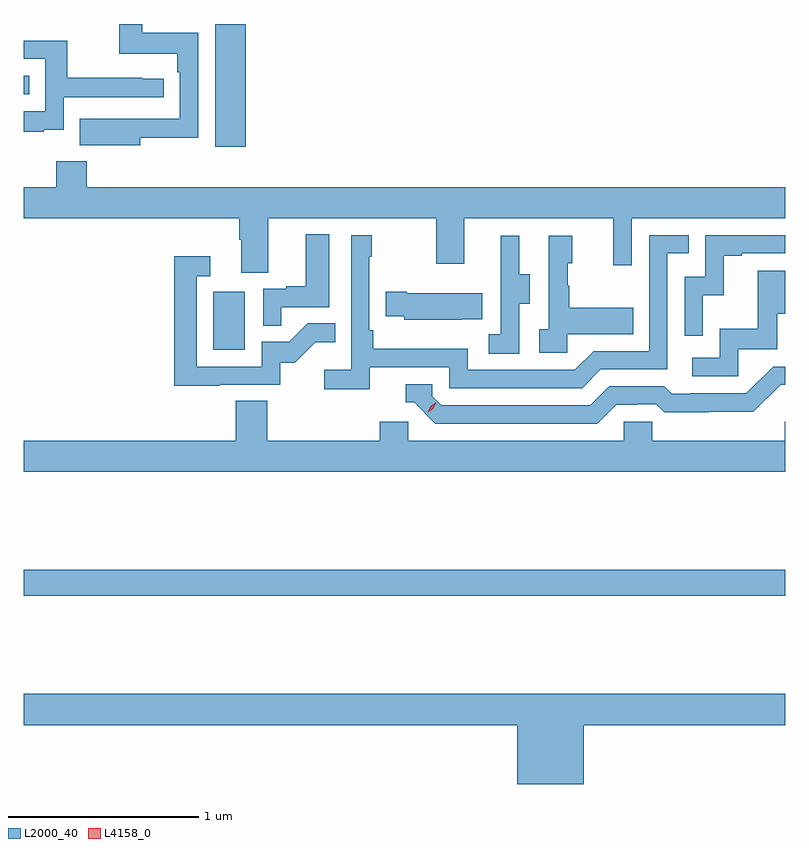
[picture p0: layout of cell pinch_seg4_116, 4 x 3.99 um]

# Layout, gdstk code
import gdstk
lib = gdstk.Library(unit=1e-6, precision=1e-09)
def R(c, l, rs):  # rectangles x0, y0, x1, y1
    for r in rs: c.add(gdstk.rectangle(r[:2], r[2:], *l))
def P(c, l, *ps):  # polygons
    for p in ps: c.add(gdstk.Polygon(p, *l))
L2000_40 = (2000, 40)
L4158_0 = (4158, 0)

pinch_seg4_116 = lib.new_cell('pinch_seg4_116')
R(pinch_seg4_116, L2000_40, [(1069.196,798.832,1073.196,798.968), (1070.192,800.124,1070.356,800.431), (1070.201,801.192,1070.362,801.837), (1069.196,801.468,1069.223,801.564)])
P(pinch_seg4_116, L2000_40, [(1069.807,801.238),(1070.112,801.238),(1070.112,801.79),(1069.819,801.79),(1069.819,801.837),(1069.501,801.837),(1069.501,801.835),(1069.698,801.835),(1069.698,801.68),(1070.003,801.68),(1070.003,801.584),(1070.016,801.584),(1070.016,801.339),(1069.703,801.339),(1069.703,801.34),(1069.489,801.34),(1069.489,801.2),(1069.807,801.2)],
  [(1069.301,801.281),(1069.404,801.281),(1069.404,801.453),(1069.93,801.453),(1069.93,801.549),(1069.817,801.549),(1069.817,801.554),(1069.424,801.554),(1069.424,801.75),(1069.196,801.75),(1069.196,801.654),(1069.308,801.654),(1069.308,801.378),(1069.196,801.378),(1069.196,801.27),(1069.301,801.27)],
  [(1070.479,800.816),(1071.364,800.816),(1071.364,800.577),(1071.511,800.577),(1071.511,800.816),(1072.292,800.816),(1072.292,800.568),(1072.389,800.568),(1072.389,800.816),(1073.196,800.816),(1073.196,800.98),(1069.526,800.98),(1069.526,801.115),(1069.366,801.115),(1069.366,800.98),(1069.196,800.98),(1069.196,800.816),(1070.327,800.816),(1070.327,800.704),(1070.339,800.704),(1070.339,800.53),(1070.479,800.53)],
  [(1070.549,800.349),(1070.8,800.349),(1070.8,800.731),(1070.678,800.731),(1070.678,800.458),(1070.575,800.458),(1070.575,800.445),(1070.454,800.445),(1070.454,800.251),(1070.549,800.251)],
  [(1071.014,800.034),(1071.432,800.034),(1071.432,799.923),(1072.129,799.923),(1072.228,800.022),(1072.578,800.022),(1072.578,800.631),(1072.691,800.631),(1072.691,800.727),(1072.482,800.727),(1072.482,800.118),(1072.191,800.118),(1072.092,800.019),(1071.528,800.019),(1071.528,800.131),(1071.032,800.131),(1071.032,800.227),(1071.012,800.227),(1071.012,800.615),(1071.025,800.615),(1071.025,800.728),(1070.916,800.728),(1070.916,800.02),(1070.775,800.02),(1070.775,799.918),(1071.014,799.918)],
  [(1072.764,800.411),(1072.874,800.411),(1072.874,800.619),(1072.969,800.619),(1072.969,800.631),(1073.196,800.631),(1073.196,800.727),(1072.776,800.727),(1072.776,800.508),(1072.668,800.508),(1072.668,800.199),(1072.764,800.199)],
  [(1072.05,800.207),(1072.397,800.207),(1072.397,800.347),(1072.063,800.347),(1072.063,800.462),(1072.053,800.462),(1072.053,800.58),(1072.078,800.58),(1072.078,800.725),(1071.954,800.725),(1071.954,800.234),(1071.903,800.234),(1071.903,800.109),(1072.05,800.109)],
  [(1071.798,800.368),(1071.853,800.368),(1071.853,800.523),(1071.799,800.523),(1071.799,800.725),(1071.701,800.725),(1071.701,800.511),(1071.702,800.511),(1071.702,800.207),(1071.639,800.207),(1071.639,800.104),(1071.798,800.104)],
  [(1070.225,799.941),(1070.544,799.941),(1070.544,800.058),(1070.62,800.058),(1070.727,800.165),(1070.831,800.165),(1070.831,800.264),(1070.688,800.264),(1070.59,800.166),(1070.445,800.166),(1070.445,800.037),(1070.103,800.037),(1070.103,800.511),(1070.176,800.511),(1070.176,800.617),(1069.987,800.617),(1069.987,799.936),(1070.225,799.936)],
  [(1072.95,800.127),(1073.155,800.127),(1073.155,800.313),(1073.196,800.313),(1073.196,800.539),(1073.053,800.539),(1073.053,800.236),(1072.854,800.236),(1072.854,800.082),(1072.707,800.082),(1072.707,799.986),(1072.95,799.986)],
  [(1071.497,800.285),(1071.605,800.285),(1071.605,800.422),(1071.208,800.422),(1071.208,800.43),(1071.097,800.43),(1071.097,800.3),(1071.195,800.3),(1071.195,800.282),(1071.497,800.282)],
  [(1072.309,799.836),(1072.416,799.836),(1072.416,799.839),(1072.519,799.839),(1072.561,799.797),(1072.794,799.797),(1072.794,799.799),(1073.03,799.799),(1073.172,799.941),(1073.196,799.941),(1073.196,800.037),(1073.133,800.037),(1072.992,799.896),(1072.699,799.896),(1072.699,799.893),(1072.6,799.893),(1072.561,799.932),(1072.272,799.932),(1072.173,799.833),(1071.39,799.833),(1071.342,799.881),(1071.342,799.944),(1071.203,799.944),(1071.203,799.848),(1071.246,799.848),(1071.357,799.737),(1072.21,799.737)],
  [(1073.196,799.746),(1073.195,799.746),(1073.195,799.648),(1072.497,799.648),(1072.497,799.746),(1072.347,799.746),(1072.347,799.648),(1071.216,799.648),(1071.216,799.746),(1071.065,799.746),(1071.065,799.648),(1070.474,799.648),(1070.474,799.856),(1070.309,799.856),(1070.309,799.648),(1069.196,799.648),(1069.196,799.484),(1073.196,799.484)],
  [(1072.138,798.152),(1073.196,798.152),(1073.196,798.316),(1069.196,798.316),(1069.196,798.152),(1071.788,798.152),(1071.788,797.843),(1072.138,797.843)])
P(pinch_seg4_116, L4158_0, [(1071.318,799.796),(1071.318,799.796),(1071.334,799.829),(1071.364,799.848),(1071.364,799.848),(1071.364,799.848),(1071.348,799.816),(1071.318,799.796)])

lib.write_gds('pinch_seg4_116.gds')
